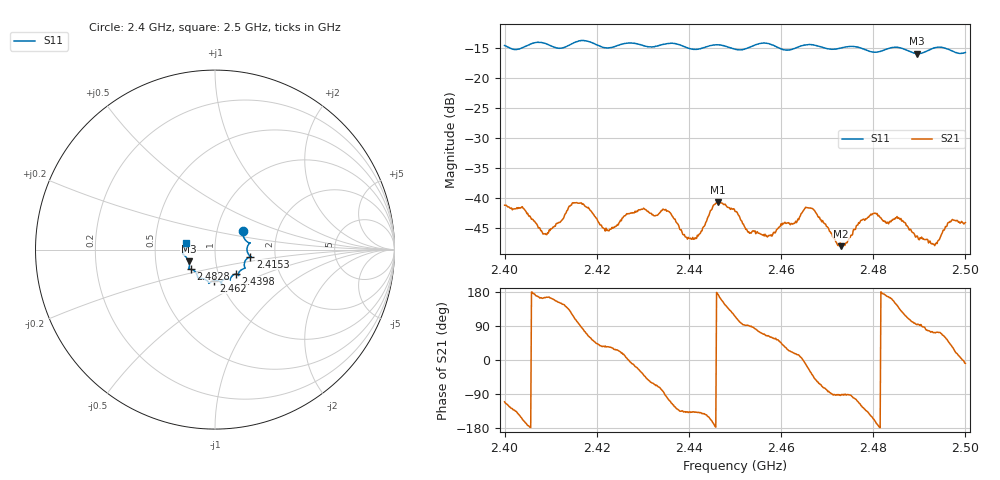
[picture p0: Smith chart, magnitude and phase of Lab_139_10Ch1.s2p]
# Hz S RI R 50
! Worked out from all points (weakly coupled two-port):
!   601 points, 2.4 GHz to 2.5 GHz, reference 50 ohm
!   highest |S21| = -40.71 dB at 2.4463 GHz (marker M1); lowest = -48.1 dB at 2.473 GHz (marker M2)
!   lowest |S11| = -15.9 dB at 2.4895 GHz (marker M3), VSWR 1.38, Z = 37 - j5.01 ohm
!   |S11| at or under -10 dB: start of sweep to end of sweep
!   S12 and S22 are empty: the file has one direction only
!   S11 on the Smith chart (normalised r, x): 2.4 GHz: 1.33, +0.29; 2.4153 GHz: 1.48, -0.12; 2.4398 GHz: 1.21, -0.34; 2.462 GHz: 0.93, -0.33; 2.4828 GHz: 0.74, -0.17; 2.5 GHz: 0.72, +0.06
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2.4e9  0.155 0.1064  -0.00304 -0.00815  0 0  0 0
2.408833e9  0.1923 0.0349  -0.00485 0.00136  0 0  0 0
2.415333e9  0.1965 -0.0386  -0.00268 0.0087  0 0  0 0
2.416667e9  0.2023 -0.0429  0.000588 0.00908  0 0  0 0
2.422167e9  0.1668 -0.0661  0.00437 0.00308  0 0  0 0
2.429667e9  0.1563 -0.1079  0.00679 -0.00435  0 0  0 0
2.433333e9  0.131 -0.1337  0.00241 -0.00688  0 0  0 0
2.4355e9  0.1316 -0.1444  -0.00176 -0.00756  0 0  0 0
2.439833e9  0.1157 -0.1361  -0.00352 -0.0031  0 0  0 0
2.446333e9  0.0848 -0.1706  -0.00914 0.00113  0 0  0 0
2.45e9  0.0649 -0.1626  -0.00333 0.00697  0 0  0 0
2.453167e9  0.0371 -0.178  5.45e-05 0.00507  0 0  0 0
2.462e9  -0.00511 -0.1731  0.00548 0.00236  0 0  0 0
2.466667e9  -0.0343 -0.1879  0.0065 -0.005  0 0  0 0
2.473e9  -0.0802 -0.1601  -0.000184 -0.00395  0 0  0 0
2.479833e9  -0.1086 -0.1254  -0.00649 -0.00348  0 0  0 0
2.482833e9  -0.1364 -0.1094  -0.00604 0.00114  0 0  0 0
2.483333e9  -0.1401 -0.1092  -0.00592 0.0014  0 0  0 0
2.4895e9  -0.1461 -0.066  -0.000253 0.00482  0 0  0 0
2.493333e9  -0.1782 -0.0256  0.00119 0.00381  0 0  0 0
2.496667e9  -0.1721 -0.0104  0.00464 0.00436  0 0  0 0
2.5e9  -0.1596 0.0389  0.00616 -0.000975  0 0  0 0
